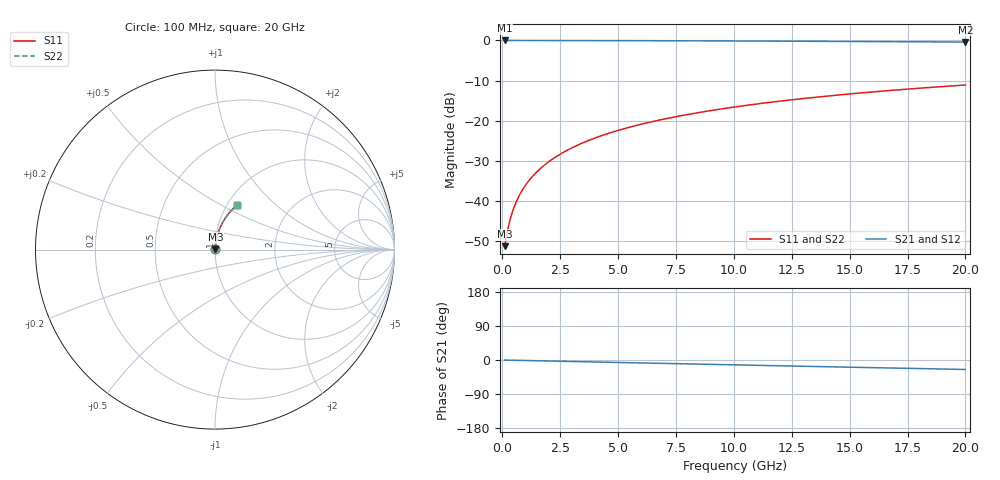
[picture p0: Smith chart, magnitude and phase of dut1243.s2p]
! Touchstone file exported from HFSS 2026.1.0
!  File:  C:/ffzhzh/LocalFiles/Ansys_Project_Files/temp_train_TMRDL_1243_1783163689_43440.aedt
!  Generated:  07:16:03 PM Jul  4, 2026
!  Design:  TMRDL
!  Project:  temp_train_TMRDL_1243_1783163689_43440
! Variables:
!  h_bsmrdl = 2um
!  h_ox = 20um
!  h_rdl = 5um
!  h_sub = 80um
!  h_tmrdl = 3.48um
!  h_tsv = 80um
!  h_via = 3um
!  l_bsmrdl = 300um
!  l_sub = 710.11um
!  l_tmrdl = 310.11um
!  m_sub = 200um
!  pitch = 44.44um
!  r_tsv = 6um
!  s_tmrdl = 10um
!  w_bsmrdl = 18um
!  w_sub = 500um
!  w_tmrdl = 15.42um
!  x_tsv_center1 = 317.82um
!  x_tsv_center2 = 635.82um
!  x_tsv_center3 = 961.35um
!  x_tsv_center4 = 1279.35um
!  x_tsv_center5 = 1604.88um
!  x_tsv_center6 = 1922.88um
# GHz S MA R 50.000000
! Terminal data exported
! Port[1] = TM_RDL1_1_T1
! Port[2] = TM_RDL1_1_T2
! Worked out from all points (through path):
!   200 points, 100 MHz to 20 GHz, reference 50 ohm
!   highest |S21| = -0.02 dB at 100 MHz (marker M1); lowest = -0.4 dB at 20 GHz (marker M2)
!   group delay of S21, straight-line fit = 3.46 ps
!   lowest |S11| = -51.3 dB at 100 MHz (marker M3), VSWR 1.01, Z = 50.2 + j0.162 ohm
!   |S11| at or under -10 dB: start of sweep to end of sweep
!   |S22| runs from -51.3 to -11.1 dB; largest |S21 - S12| = 2.7e-15
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0.1  0.002737 36.1  0.9978 -0.1  0.9978 -0.1  0.002737 36.1
! Gamma 0 0 0 0
! Port Impedance 50 0 50 0
0.2  0.003929 54.7  0.9977 -0.3  0.9977 -0.3  0.003929 54.7
0.3  0.005321 63.8  0.9977 -0.4  0.9977 -0.4  0.005321 63.8
0.4  0.00677 68.9  0.9976 -0.5  0.9976 -0.5  0.00677 68.9
0.5  0.008239 72.1  0.9975 -0.7  0.9975 -0.7  0.008239 72.1
0.6  0.009715 74.4  0.9975 -0.8  0.9975 -0.8  0.009716 74.4
0.8  0.01268 77.3  0.9974 -1.1  0.9974 -1.1  0.01268 77.3
1.1  0.01717 79.7  0.9972 -1.5  0.9972 -1.5  0.01717 79.7
1.5  0.02318 81.3  0.997 -2.0  0.997 -2.0  0.02318 81.3
1.8  0.0277 81.9  0.9968 -2.4  0.9968 -2.4  0.0277 81.9
2.1  0.03223 82.2  0.9966 -2.8  0.9966 -2.8  0.03223 82.2
2.7  0.04128 82.3  0.9962 -3.5  0.9962 -3.5  0.04128 82.3
3.5  0.0533 82.0  0.9954 -4.6  0.9954 -4.6  0.0533 82.0
4.2  0.06377 81.4  0.9946 -5.5  0.9946 -5.5  0.06377 81.4
5  0.07565 80.7  0.9935 -6.5  0.9935 -6.5  0.07565 80.7
5.9  0.08891 79.7  0.992 -7.7  0.992 -7.7  0.08891 79.7
6.8  0.102 78.7  0.9905 -8.8  0.9905 -8.8  0.102 78.7
8.3  0.1236 77.0  0.9875 -10.7  0.9875 -10.7  0.1236 77.0
10.1  0.149 74.9  0.9833 -13.0  0.9833 -13.0  0.149 74.9
13.4  0.1941 71.0  0.9745 -17.1  0.9745 -17.1  0.1941 71.0
16.7  0.2372 67.2  0.9643 -21.0  0.9643 -21.0  0.2372 67.2
20  0.2781 63.5  0.9528 -24.9  0.9528 -24.9  0.2781 63.5
